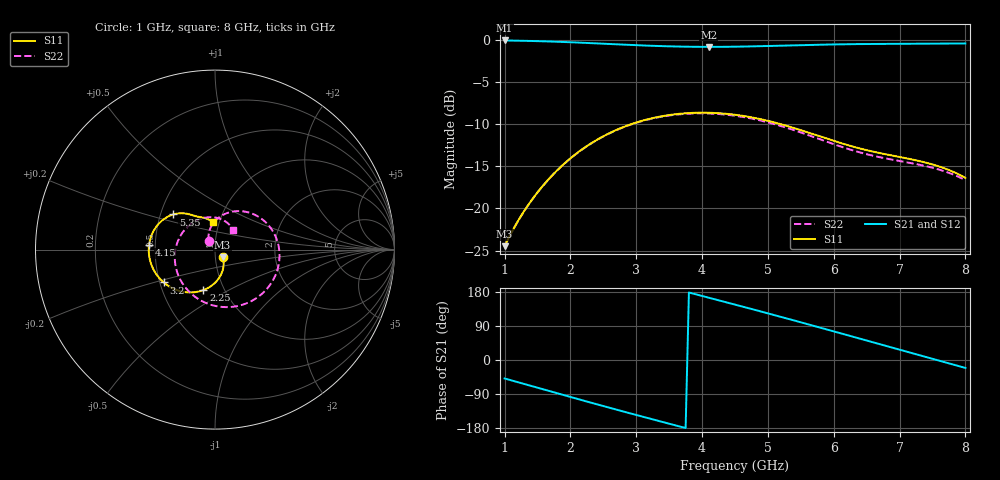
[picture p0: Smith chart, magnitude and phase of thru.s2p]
# GHz S RI R 50
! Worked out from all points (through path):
!   141 points, 1 GHz to 8 GHz, reference 50 ohm
!   highest |S21| = -0.10 dB at 1 GHz (marker M1); lowest = -0.9 dB at 4.1 GHz (marker M2)
!   group delay of S21, straight-line fit = 131 ps
!   lowest |S11| = -24.5 dB at 1 GHz (marker M3), VSWR 1.13, Z = 54.2 - j4.61 ohm
!   |S11| at or under -10 dB: start of sweep to 2.929 GHz; 5.189 GHz to end of sweep
!   |S22| runs from -24.5 to -8.7 dB; largest |S21 - S12| = 0
!   S11 on the Smith chart (normalised r, x): 1 GHz: 1.08, -0.09; 2.25 GHz: 0.80, -0.38; 3.2 GHz: 0.52, -0.22; 4.15 GHz: 0.46, +0.03; 5.35 GHz: 0.58, +0.25; 8 GHz: 0.94, +0.29
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1  0.0422 -0.0424  0.6519 -0.7428  0.6519 -0.7428  -0.0343 0.049
1.3  0.048 -0.0842  0.44 -0.8796  0.44 -0.8796  -0.0349 0.0903
1.6  0.0358 -0.1343  0.2012 -0.9559  0.2012 -0.9559  -0.0164 0.1378
1.9  0.00163 -0.1834  -0.0464 -0.9669  -0.0464 -0.9669  0.0248 0.1814
2.2  -0.0533 -0.2209  -0.2841 -0.9142  -0.2841 -0.9142  0.0868 0.2094
2.25  -0.0641 -0.2254  -0.3216 -0.8997  -0.3216 -0.8997  0.0987 0.2118
2.75  -0.1846 -0.2336  -0.6434 -0.6795  -0.6434 -0.6795  0.2261 0.1919
3.2  -0.286 -0.1827  -0.8295 -0.3977  -0.8295 -0.3977  0.3214 0.1038
3.35  -0.3129 -0.1557  -0.8672 -0.2938  -0.8672 -0.2938  0.3418 0.0625
3.7  -0.356 -0.08  -0.9074 -0.0431  -0.9074 -0.0431  0.3591 -0.0475
4.1  -0.3685 0.0141  -0.8725 0.2418  -0.8725 0.2418  0.3203 -0.1753
4.15  -0.3674 0.0256  -0.8622 0.2763  -0.8622 0.2763  0.3111 -0.19
4.5  -0.3451 0.0988  -0.7546 0.5046  -0.7546 0.5046  0.2226 -0.2754
4.95  -0.2896 0.1662  -0.5303 0.7459  -0.5303 0.7459  0.0663 -0.3206
5.35  -0.2314 0.1961  -0.264 0.8853  -0.264 0.8853  -0.0767 -0.2849
5.7  -0.1851 0.2026  0.00113 0.9311  0.00113 0.9311  -0.1731 -0.2
5.95  -0.1581 0.2  0.1958 0.9148  0.1958 0.9148  -0.2129 -0.1193
6.25  -0.1329 0.1937  0.4199 0.8403  0.4199 0.8403  -0.2226 -0.016
6.85  -0.0965 0.1833  0.7779 0.5338  0.7779 0.5338  -0.1322 0.1444
7.15  -0.0782 0.1803  0.8874 0.3229  0.8874 0.3229  -0.0571 0.1775
7.45  -0.0567 0.1757  0.941 0.0915  0.941 0.0915  0.0162 0.1755
8  -0.0106 0.1513  0.886 -0.3393  0.886 -0.3393  0.1006 0.1073
